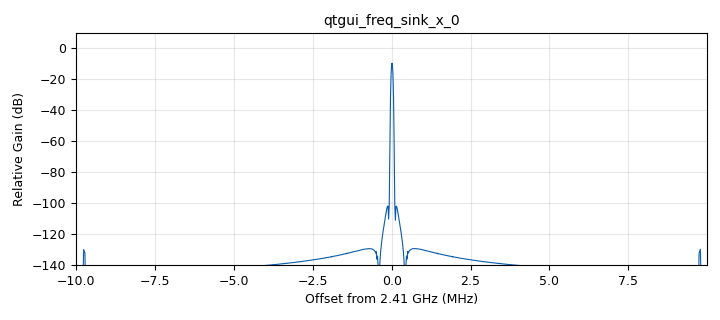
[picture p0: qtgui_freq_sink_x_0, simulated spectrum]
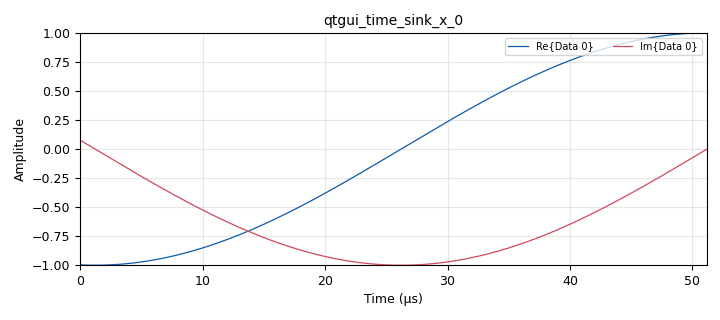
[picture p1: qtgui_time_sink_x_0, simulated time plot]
<?xml version='1.0' encoding='utf-8'?>
<?grc format='1' created='3.7.11'?>
<flow_graph>
<block>
<key>options</key>
<param><key>id</key><value>top_block</value></param>
<param><key>generate_options</key><value>qt_gui</value></param>
</block>
<block>
<key>variable</key>
<param><key>id</key><value>freq</value></param>
<param><key>value</key><value>freq_base*freq_slide</value></param>
</block>
<block>
<key>variable</key>
<param><key>id</key><value>freq_base</value></param>
<param><key>value</key><value>1e6</value></param>
</block>
<block>
<key>variable_qtgui_range</key>
<param><key>id</key><value>freq_slide</value></param>
<param><key>value</key><value>2410</value></param>
<param><key>orient</key><value>Qt.Horizontal</value></param>
<param><key>start</key><value>1</value></param>
<param><key>step</key><value>1</value></param>
<param><key>stop</key><value>6000</value></param>
<param><key>rangeType</key><value>int</value></param>
</block>
<block>
<key>variable</key>
<param><key>id</key><value>samp_rate</value></param>
<param><key>value</key><value>samp_rate_base*samp_rate_slide</value></param>
</block>
<block>
<key>variable</key>
<param><key>id</key><value>samp_rate_base</value></param>
<param><key>value</key><value>1e6</value></param>
</block>
<block>
<key>variable_qtgui_range</key>
<param><key>id</key><value>samp_rate_slide</value></param>
<param><key>value</key><value>20</value></param>
<param><key>orient</key><value>Qt.Horizontal</value></param>
<param><key>start</key><value>1</value></param>
<param><key>step</key><value>1</value></param>
<param><key>stop</key><value>20</value></param>
<param><key>rangeType</key><value>int</value></param>
</block>
<block>
<key>variable</key>
<param><key>id</key><value>sin_wave_freq</value></param>
<param><key>value</key><value>10000</value></param>
</block>
<block>
<key>analog_sig_source_x</key>
<param><key>id</key><value>analog_sig_source_x_0</value></param>
<param><key>amp</key><value>1</value></param>
<param><key>freq</key><value>sin_wave_freq</value></param>
<param><key>offset</key><value>0</value></param>
<param><key>type</key><value>complex</value></param>
<param><key>samp_rate</key><value>samp_rate</value></param>
<param><key>waveform</key><value>analog.GR_SIN_WAVE</value></param>
</block>
<block>
<key>osmosdr_sink</key>
<param><key>id</key><value>osmosdr_sink_0</value></param>
<param><key>bb_gain0</key><value>20</value></param>
<param><key>freq0</key><value>freq</value></param>
<param><key>if_gain0</key><value>20</value></param>
<param><key>gain0</key><value>10</value></param>
<param><key>args</key><value>hackrf=87c867dc2972b75f</value></param>
<param><key>type</key><value>fc32</value></param>
<param><key>sample_rate</key><value>samp_rate</value></param>
<param><key>sync</key><value></value></param>
</block>
<block>
<key>qtgui_freq_sink_x</key>
<param><key>id</key><value>qtgui_freq_sink_x_0</value></param>
<param><key>bw</key><value>samp_rate</value></param>
<param><key>fc</key><value>freq</value></param>
<param><key>ctrlpanel</key><value>True</value></param>
<param><key>fftsize</key><value>1024</value></param>
<param><key>showports</key><value>True</value></param>
<param><key>type</key><value>complex</value></param>
<param><key>wintype</key><value>firdes.WIN_BLACKMAN_hARRIS</value></param>
</block>
<block>
<key>qtgui_time_sink_x</key>
<param><key>id</key><value>qtgui_time_sink_x_0</value></param>
<param><key>color1</key><value>"blue"</value></param>
<param><key>label1</key><value></value></param>
<param><key>color2</key><value>"red"</value></param>
<param><key>label2</key><value></value></param>
<param><key>size</key><value>1024</value></param>
<param><key>srate</key><value>samp_rate</value></param>
<param><key>type</key><value>complex</value></param>
</block>
<connection><source_block_id>analog_sig_source_x_0</source_block_id><sink_block_id>osmosdr_sink_0</sink_block_id><source_key>0</source_key><sink_key>0</sink_key></connection>
<connection><source_block_id>analog_sig_source_x_0</source_block_id><sink_block_id>qtgui_freq_sink_x_0</sink_block_id><source_key>0</source_key><sink_key>0</sink_key></connection>
<connection><source_block_id>analog_sig_source_x_0</source_block_id><sink_block_id>qtgui_time_sink_x_0</sink_block_id><source_key>0</source_key><sink_key>0</sink_key></connection>
</flow_graph>
